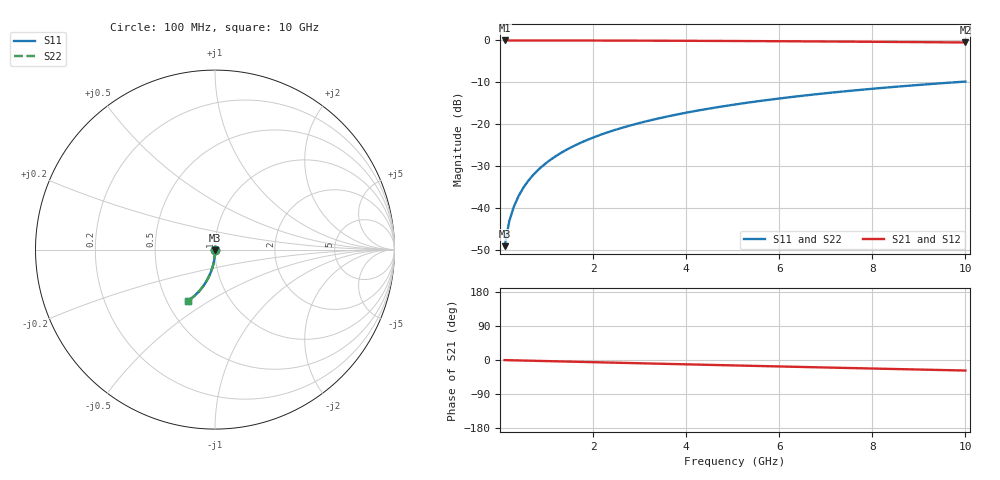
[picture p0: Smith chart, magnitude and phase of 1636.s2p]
# Hz S RI R 50.00
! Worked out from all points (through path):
!   100 points, 100 MHz to 10 GHz, reference 50 ohm
!   highest |S21| = 0.00 dB at 100 MHz (marker M1); lowest = -0.5 dB at 10 GHz (marker M2)
!   group delay of S21, straight-line fit = 7.74 ps
!   lowest |S11| = -49.1 dB at 100 MHz (marker M3), VSWR 1.01, Z = 50 - j0.347 ohm
!   |S11| at or under -10 dB: start of sweep to 9.767 GHz
!   |S22| runs from -49.1 to -9.8 dB; largest |S21 - S12| = 0
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1e8  0.000436 -0.00347  0.9995 -0.00501  0.9995 -0.00501  0.000436 -0.00347
2e8  0.000383 -0.00694  0.9995 -0.01  0.9995 -0.01  0.000383 -0.00694
3e8  0.000295 -0.0104  0.9994 -0.015  0.9994 -0.015  0.000295 -0.0104
4e8  0.000171 -0.0139  0.9992 -0.02  0.9992 -0.02  0.000171 -0.0139
5e8  1.2e-05 -0.0173  0.999 -0.025  0.999 -0.025  1.2e-05 -0.0173
6e8  -0.000182 -0.0208  0.9988 -0.03  0.9988 -0.03  -0.000182 -0.0208
7e8  -0.00041 -0.0243  0.9986 -0.035  0.9986 -0.035  -0.00041 -0.0243
8e8  -0.000673 -0.0277  0.9983 -0.04  0.9983 -0.04  -0.000673 -0.0277
9e8  -0.000971 -0.0312  0.998 -0.045  0.998 -0.045  -0.000971 -0.0312
1.1e9  -0.00167 -0.0381  0.9972 -0.055  0.9972 -0.055  -0.00167 -0.0381
1.4e9  -0.00298 -0.0484  0.9958 -0.0699  0.9958 -0.0699  -0.00298 -0.0484
1.8e9  -0.0052 -0.0621  0.9935 -0.0897  0.9935 -0.0897  -0.0052 -0.0621
2.1e9  -0.00722 -0.0722  0.9913 -0.1045  0.9913 -0.1045  -0.00722 -0.0722
2.5e9  -0.0104 -0.0857  0.9879 -0.1241  0.9879 -0.1241  -0.0104 -0.0857
2.9e9  -0.0141 -0.099  0.984 -0.1436  0.984 -0.1436  -0.0141 -0.099
3.4e9  -0.0194 -0.1153  0.9782 -0.1676  0.9782 -0.1676  -0.0194 -0.1153
4.2e9  -0.0295 -0.1407  0.9674 -0.2054  0.9674 -0.2054  -0.0295 -0.1407
5.1e9  -0.0432 -0.1681  0.9527 -0.2467  0.9527 -0.2467  -0.0432 -0.1681
5.9e9  -0.0572 -0.1911  0.9376 -0.2821  0.9376 -0.2821  -0.0572 -0.1911
6.7e9  -0.0728 -0.2128  0.9208 -0.3162  0.9208 -0.3162  -0.0728 -0.2128
8.4e9  -0.1104 -0.2538  0.88 -0.3837  0.88 -0.3837  -0.1104 -0.2538
1e10  -0.1503 -0.2856  0.8365 -0.4407  0.8365 -0.4407  -0.1503 -0.2856
